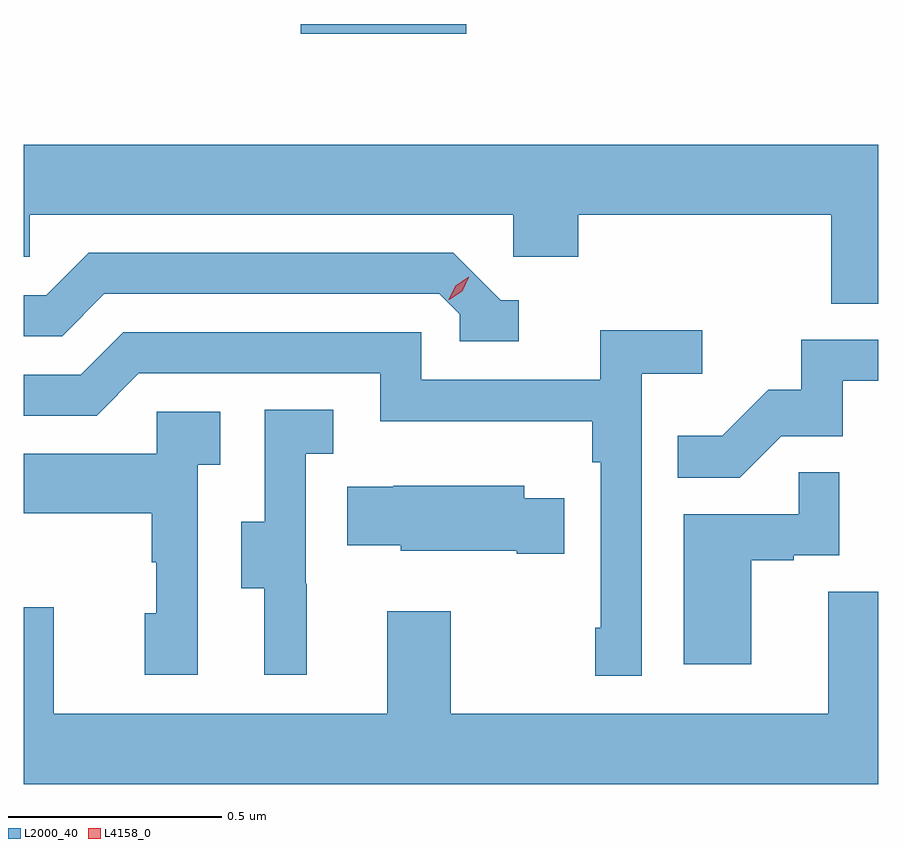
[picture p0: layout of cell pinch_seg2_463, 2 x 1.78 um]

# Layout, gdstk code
import gdstk
lib = gdstk.Library(unit=1e-6, precision=1e-09)
def R(c, l, rs):  # rectangles x0, y0, x1, y1
    for r in rs: c.add(gdstk.rectangle(r[:2], r[2:], *l))
def P(c, l, *ps):  # polygons
    for p in ps: c.add(gdstk.Polygon(p, *l))
L2000_40 = (2000, 40)
L4158_0 = (4158, 0)

pinch_seg2_463 = lib.new_cell('pinch_seg2_463')
R(pinch_seg2_463, L2000_40, [(950.994,618.755,951.382,618.778)])
P(pinch_seg2_463, L2000_40, [(952.346,618.496),(950.346,618.496),(950.346,618.234),(950.361,618.234),(950.361,618.332),(951.492,618.332),(951.492,618.234),(951.644,618.234),(951.644,618.332),(952.235,618.332),(952.235,618.124),(952.346,618.124)],
  [(951.505,618.132),(951.462,618.132),(951.351,618.243),(950.498,618.243),(950.399,618.144),(950.346,618.144),(950.346,618.048),(950.436,618.048),(950.535,618.147),(951.318,618.147),(951.366,618.099),(951.366,618.036),(951.505,618.036)],
  [(951.792,617.96),(951.934,617.96),(951.934,618.062),(951.695,618.062),(951.695,617.946),(951.276,617.946),(951.276,618.057),(950.579,618.057),(950.48,617.958),(950.346,617.958),(950.346,617.862),(950.517,617.862),(950.616,617.961),(951.18,617.961),(951.18,617.849),(951.676,617.849),(951.676,617.753),(951.696,617.753),(951.696,617.365),(951.684,617.365),(951.684,617.253),(951.792,617.253)],
  [(952.119,617.814),(952.263,617.814),(952.263,617.943),(952.346,617.943),(952.346,618.039),(952.165,618.039),(952.165,617.922),(952.088,617.922),(951.981,617.815),(951.877,617.815),(951.877,617.716),(952.021,617.716)],
  [(951.008,617.469),(951.006,617.469),(951.006,617.773),(951.07,617.773),(951.07,617.876),(950.91,617.876),(950.91,617.613),(950.855,617.613),(950.855,617.458),(950.909,617.458),(950.909,617.256),(951.008,617.256)],
  [(950.754,617.747),(950.806,617.747),(950.806,617.871),(950.658,617.871),(950.658,617.773),(950.346,617.773),(950.346,617.633),(950.646,617.633),(950.646,617.519),(950.656,617.519),(950.656,617.4),(950.63,617.4),(950.63,617.256),(950.754,617.256)],
  [(952.048,617.523),(952.148,617.523),(952.148,617.535),(952.254,617.535),(952.254,617.729),(952.159,617.729),(952.159,617.631),(951.89,617.631),(951.89,617.28),(952.048,617.28)],
  [(951.611,617.668),(951.517,617.668),(951.517,617.698),(951.211,617.698),(951.211,617.695),(951.103,617.695),(951.103,617.558),(951.228,617.558),(951.228,617.546),(951.5,617.546),(951.5,617.539),(951.611,617.539)],
  [(952.346,617.45),(952.229,617.45),(952.229,617.164),(951.345,617.164),(951.345,617.404),(951.197,617.404),(951.197,617.164),(950.417,617.164),(950.417,617.413),(950.346,617.413),(950.346,617),(952.346,617)])
P(pinch_seg2_463, L4158_0, [(951.341,618.133),(951.341,618.134),(951.357,618.166),(951.387,618.187),(951.388,618.187),(951.388,618.186),(951.372,618.153),(951.342,618.133)])

lib.write_gds('pinch_seg2_463.gds')
